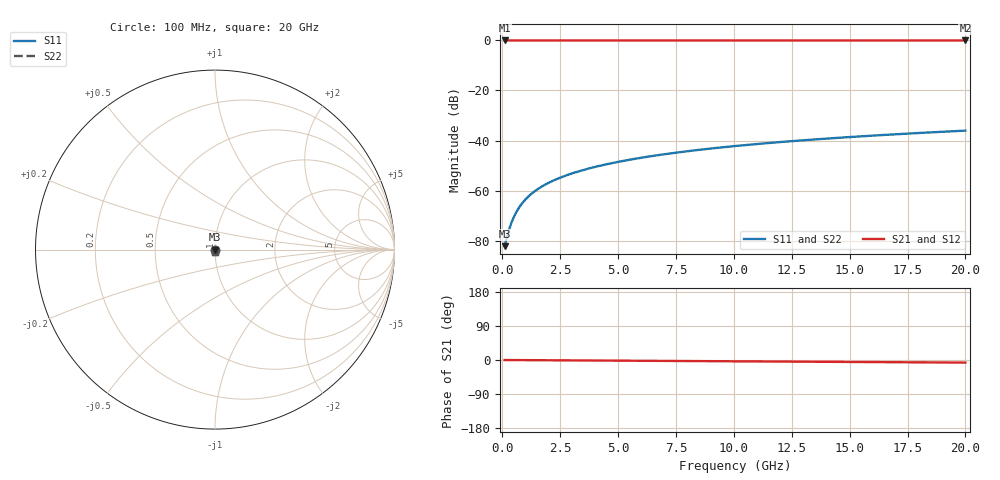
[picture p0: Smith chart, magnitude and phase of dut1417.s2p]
! Touchstone file exported from HFSS 2026.1.0
!  File:  C:/ffzhzh/LocalFiles/Ansys_Project_Files/temp_train_TSV_1417_1783197185_55132.aedt
!  Generated:  04:34:30 AM Jul  5, 2026
!  Design:  TSV
!  Project:  temp_train_TSV_1417_1783197185_55132
! Variables:
!  h_bsmrdl = 2um
!  h_ox = 20um
!  h_rdl = 5um
!  h_sub = 65.52um
!  h_tmrdl = 5um
!  h_tsv = 65.52um
!  h_via = 3um
!  l_bsmrdl = 300um
!  l_sub = 429.74um
!  l_tmrdl = 200um
!  m_sub = 200um
!  pitch = 51.89um
!  r_tsv = 14.87um
!  s_tmrdl = 10um
!  w_bsmrdl = 18um
!  w_sub = 500um
!  w_tmrdl = 12um
!  x_tsv_center1 = 206um
!  x_tsv_center2 = 524um
!  x_tsv_center3 = 736um
!  x_tsv_center4 = 1054um
!  x_tsv_center5 = 1266um
!  x_tsv_center6 = 1584um
# GHz S MA R 50.000000
! Terminal data exported
! Port[1] = TSV1_1_T1
! Port[2] = TSV1_1_T2
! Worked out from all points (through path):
!   200 points, 100 MHz to 20 GHz, reference 50 ohm
!   highest |S21| = 0.00 dB at 100 MHz (marker M1); lowest = 0.0 dB at 20 GHz (marker M2)
!   lowest |S11| = -82.2 dB at 100 MHz (marker M3), VSWR 1.00, Z = 50 - j0.00442 ohm
!   |S11| at or under -10 dB: start of sweep to end of sweep
!   |S22| runs from -82.2 to -36.0 dB; largest |S21 - S12| = 6.5e-15
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0.1  7.75e-05 -34.7  0.9999 -0.0  0.9999 -0.0  7.75e-05 -34.7
! Gamma 0 0 0 0
! Port Impedance 50 0 50 0
0.2  0.0001184 -50.6  0.9999 -0.1  0.9999 -0.1  0.0001184 -50.6
0.3  0.000171 -57.5  0.9999 -0.1  0.9999 -0.1  0.000171 -57.5
0.4  0.0002312 -61.4  0.9999 -0.1  0.9999 -0.1  0.0002312 -61.4
0.5  0.0002971 -64.0  0.9999 -0.2  0.9999 -0.2  0.0002971 -64.0
0.6  0.000367 -66.2  0.9999 -0.2  0.9999 -0.2  0.000367 -66.1
0.7  0.0004396 -68.0  0.9998 -0.2  0.9998 -0.2  0.0004396 -68.0
0.9  0.0005891 -71.0  0.9998 -0.3  0.9998 -0.3  0.0005891 -71.0
1.2  0.0008175 -74.3  0.9998 -0.4  0.9998 -0.4  0.0008175 -74.3
1.4  0.0009704 -76.0  0.9998 -0.5  0.9998 -0.5  0.0009704 -76.0
1.6  0.001123 -77.4  0.9997 -0.6  0.9997 -0.6  0.001123 -77.4
2.1  0.001505 -79.8  0.9997 -0.7  0.9997 -0.7  0.001505 -79.8
2.7  0.001963 -81.7  0.9997 -0.9  0.9997 -0.9  0.001963 -81.7
3.5  0.002578 -83.4  0.9996 -1.2  0.9996 -1.2  0.002578 -83.4
4.2  0.003121 -84.4  0.9996 -1.5  0.9996 -1.5  0.003121 -84.4
5  0.003745 -85.3  0.9996 -1.7  0.9996 -1.7  0.003745 -85.3
6.8  0.005166 -86.8  0.9995 -2.3  0.9995 -2.3  0.005166 -86.8
8.3  0.006361 -87.9  0.9994 -2.9  0.9994 -2.9  0.006361 -87.9
10.1  0.0078 -89.0  0.9994 -3.5  0.9994 -3.5  0.007801 -89.0
13.4  0.01045 -90.8  0.9993 -4.6  0.9993 -4.6  0.01045 -90.8
16.7  0.01311 -92.4  0.9991 -5.7  0.9991 -5.7  0.01311 -92.3
20  0.01579 -93.8  0.999 -6.9  0.999 -6.9  0.01579 -93.7
